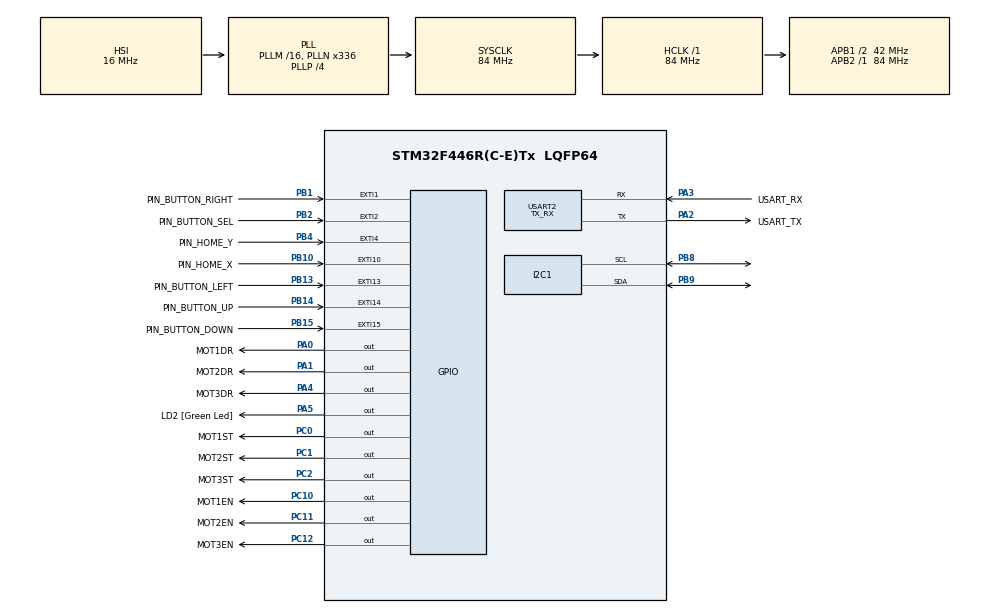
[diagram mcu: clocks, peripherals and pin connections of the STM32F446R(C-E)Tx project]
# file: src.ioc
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I2C1.I2C_Mode=I2C_Fast
Mcu.Family=STM32F4
Mcu.Name=STM32F446R(C-E)Tx
Mcu.Package=LQFP64
NVIC.EXTI15_10_IRQn=true\:0\:0\:false\:false\:true\:true\:true\:true
NVIC.EXTI1_IRQn=true\:0\:0\:false\:false\:true\:true\:true\:true
NVIC.EXTI2_IRQn=true\:0\:0\:false\:false\:true\:true\:true\:true
NVIC.EXTI4_IRQn=true\:0\:0\:false\:false\:true\:true\:true\:true
NVIC.I2C1_ER_IRQn=true\:0\:0\:false\:false\:true\:true\:true\:true
NVIC.PriorityGroup=NVIC_PRIORITYGROUP_0
NVIC.TIM1_BRK_TIM9_IRQn=true\:0\:0\:false\:false\:true\:true\:true\:true
NVIC.TIM1_TRG_COM_TIM11_IRQn=true\:0\:0\:false\:false\:true\:true\:true\:true
NVIC.TIM3_IRQn=true\:0\:0\:false\:false\:true\:true\:true\:true
NVIC.TIM4_IRQn=true\:0\:0\:false\:false\:true\:true\:true\:true
NVIC.USART2_IRQn=true\:0\:0\:false\:false\:true\:true\:true\:true
PA0-WKUP.GPIO_Label=MOT1DR
PA0-WKUP.Signal=GPIO_Output
PA1.GPIO_Label=MOT2DR
PA1.Signal=GPIO_Output
PA13.GPIO_Label=TMS
PA13.Mode=Serial_Wire
PA13.Signal=SYS_JTMS-SWDIO
PA14.GPIO_Label=TCK
PA14.Mode=Serial_Wire
PA14.Signal=SYS_JTCK-SWCLK
PA2.GPIO_Label=USART_TX
PA2.Mode=Asynchronous
PA2.Signal=USART2_TX
PA3.GPIO_Label=USART_RX
PA3.Mode=Asynchronous
PA3.Signal=USART2_RX
PA4.GPIO_Label=MOT3DR
PA4.Signal=GPIO_Output
PA5.GPIO_Label=LD2 [Green Led]
PA5.Signal=GPIO_Output
PB1.GPIO_Label=PIN_BUTTON_RIGHT
PB1.GPIO_ModeDefaultEXTI=GPIO_MODE_IT_RISING_FALLING
PB1.GPIO_PuPd=GPIO_PULLDOWN
PB1.Signal=GPXTI1
PB10.GPIO_Label=PIN_HOME_X
PB10.GPIO_PuPd=GPIO_PULLDOWN
PB10.Signal=GPXTI10
PB13.GPIO_Label=PIN_BUTTON_LEFT
PB13.GPIO_ModeDefaultEXTI=GPIO_MODE_IT_RISING_FALLING
PB13.GPIO_PuPd=GPIO_PULLDOWN
PB13.Signal=GPXTI13
PB14.GPIO_Label=PIN_BUTTON_UP
PB14.GPIO_ModeDefaultEXTI=GPIO_MODE_IT_RISING_FALLING
PB14.GPIO_PuPd=GPIO_PULLDOWN
PB14.Signal=GPXTI14
PB15.GPIO_Label=PIN_BUTTON_DOWN
PB15.GPIO_ModeDefaultEXTI=GPIO_MODE_IT_RISING_FALLING
PB15.GPIO_PuPd=GPIO_PULLDOWN
PB15.Signal=GPXTI15
PB2.GPIO_Label=PIN_BUTTON_SEL
PB2.GPIO_ModeDefaultEXTI=GPIO_MODE_IT_RISING_FALLING
PB2.GPIO_PuPd=GPIO_PULLDOWN
PB2.Signal=GPXTI2
PB3.GPIO_Label=SWO
PB3.Signal=SYS_JTDO-SWO
PB4.GPIO_Label=PIN_HOME_Y
PB4.GPIO_PuPd=GPIO_PULLDOWN
PB4.Signal=GPXTI4
PB8.Mode=I2C
PB8.Signal=I2C1_SCL
PB9.Mode=I2C
PB9.Signal=I2C1_SDA
PC0.GPIO_Label=MOT1ST
PC0.GPIO_PuPd=GPIO_NOPULL
PC0.GPIO_Speed=GPIO_SPEED_FREQ_MEDIUM
PC0.Signal=GPIO_Output
PC1.GPIO_Label=MOT2ST
PC1.GPIO_PuPd=GPIO_NOPULL
PC1.GPIO_Speed=GPIO_SPEED_FREQ_MEDIUM
PC1.Signal=GPIO_Output
PC10.GPIO_Label=MOT1EN
PC10.GPIO_PuPd=GPIO_PULLUP
PC10.PinState=GPIO_PIN_SET
PC10.Signal=GPIO_Output
PC11.GPIO_Label=MOT2EN
PC11.PinState=GPIO_PIN_SET
PC11.Signal=GPIO_Output
PC12.GPIO_Label=MOT3EN
PC12.PinState=GPIO_PIN_SET
PC12.Signal=GPIO_Output
PC14-OSC32_IN.Mode=LSE-External-Oscillator
PC14-OSC32_IN.Signal=RCC_OSC32_IN
PC15-OSC32_OUT.Mode=LSE-External-Oscillator
PC15-OSC32_OUT.Signal=RCC_OSC32_OUT
PC2.GPIO_Label=MOT3ST
PC2.GPIO_PuPd=GPIO_NOPULL
PC2.GPIO_Speed=GPIO_SPEED_FREQ_MEDIUM
PC2.Signal=GPIO_Output
PH0-OSC_IN.Mode=HSE-External-Oscillator
PH0-OSC_IN.Signal=RCC_OSC_IN
PH1-OSC_OUT.Mode=HSE-External-Oscillator
PH1-OSC_OUT.Signal=RCC_OSC_OUT
ProjectManager.HeapSize=0x200
ProjectManager.StackSize=0x400
ProjectManager.TargetToolchain=EWARM V8.50
RCC.48MHZClocksFreq_Value=84000000
RCC.AHBFreq_Value=84000000
RCC.APB1CLKDivider=RCC_HCLK_DIV2
RCC.APB1Freq_Value=42000000
RCC.APB1TimFreq_Value=84000000
RCC.APB2Freq_Value=84000000
RCC.APB2TimFreq_Value=84000000
RCC.CortexFreq_Value=84000000
RCC.FLatency-AdvancedSettings=FLASH_LATENCY_2
RCC.HCLKFreq_Value=84000000
RCC.HSE_VALUE=8000000
RCC.HSI_VALUE=16000000
RCC.PLLN=336
RCC.PLLP=RCC_PLLP_DIV4
RCC.SYSCLKFreq_VALUE=84000000
RCC.SYSCLKSource=RCC_SYSCLKSOURCE_PLLCLK
RCC.USBFreq_Value=168000000
RCC.VCOOutputFreq_Value=336000000
USART2.Mode=MODE_TX_RX
USART2.OverSampling=UART_OVERSAMPLING_16
USART2.VirtualMode=VM_ASYNC
VP_TIM11_VS_ClockSourceINT.Mode=Enable_Timer
VP_TIM3_VS_ClockSourceINT.Mode=Internal
VP_TIM4_VS_ClockSourceINT.Mode=Internal
VP_TIM9_VS_ClockSourceINT.Mode=Internal
board=NUCLEO-F446RE

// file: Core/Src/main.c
/* USER CODE BEGIN Header */
/**
  ******************************************************************************
  * @file           : main.c
  * @brief          : Main program body
  ******************************************************************************
  * @attention
  *
  * Copyright (c) 2026 STMicroelectronics.
  * All rights reserved.
  *
  * This software is licensed under terms that can be found in the LICENSE file
  * in the root directory of this software component.
  * If no LICENSE file comes with this software, it is provided AS-IS.
  *
  ******************************************************************************
  */
/* USER CODE END Header */
#include "main.h"

/* USER CODE BEGIN Includes */
#include "button.h"
#include "menu_defines.h"
#include "menu_elements.h"
#include "drinks.h"
#include "eeprom_programmer.h"
#include "motion_planner.h"
#include "stdio.h"
/* USER CODE END Includes */

I2C_HandleTypeDef hi2c1;

TIM_HandleTypeDef htim3;
TIM_HandleTypeDef htim4;
TIM_HandleTypeDef htim9;
TIM_HandleTypeDef htim11;

UART_HandleTypeDef huart2;

void SystemClock_Config(void);
static void MX_GPIO_Init(void);
static void MX_USART2_UART_Init(void);
static void MX_TIM3_Init(void);
static void MX_I2C1_Init(void);
static void MX_TIM4_Init(void);
static void MX_TIM9_Init(void);
static void MX_TIM11_Init(void);

/* USER CODE BEGIN 0 */
void HAL_TIM_PeriodElapsedCallback(TIM_HandleTypeDef *htim)
{
  if (htim == BUTTON_TIMER) buttons_HAL_reset();
  if (htim == X_TIMER) stepper_step(0);
  if (htim == Y_TIMER) stepper_step(1);
  if (htim == Z_TIMER) stepper_step(2);
}

void HAL_GPIO_EXTI_Callback(uint16_t GPIO_Pin)
{
  static uint8_t index = 0;
  index = button_HAL_index_from_gpio(GPIO_Pin);

  /** #TODO: current way state is handled is ugly, change it */
  buttons_HAL_isr(index);

}
/* USER CODE END 0 */

int main(void)
{

  /* MCU Configuration--------------------------------------------------------*/

  /* Reset of all peripherals, Initializes the Flash interface and the Systick. */
  HAL_Init();

  /* Configure the system clock */
  SystemClock_Config();

  /* Initialize all configured peripherals */
  MX_GPIO_Init();
  MX_USART2_UART_Init();
  MX_TIM3_Init();
  MX_I2C1_Init();
  MX_TIM4_Init();
  MX_TIM9_Init();
  MX_TIM11_Init();
  /* USER CODE BEGIN 2 */

  button_init(BUTTON_SEL, PIN_BUTTON_SEL_Pin);
  button_init(BUTTON_RIGHT, PIN_BUTTON_RIGHT_Pin);
  button_init(BUTTON_DOWN, PIN_BUTTON_DOWN_Pin);
  button_init(BUTTON_UP, PIN_BUTTON_UP_Pin);
  button_init(BUTTON_LEFT, PIN_BUTTON_LEFT_Pin);
  button_init(BUTTON_X_HOME, PIN_HOME_X_Pin);
  button_init(BUTTON_Y_HOME, PIN_HOME_Y_Pin);

  Stepper_Init_t stepper = {0};
  stepper.en_bus =      MOT1EN_GPIO_Port;
  stepper.en_gpio =     MOT1EN_Pin;
  stepper.dir_bus =     MOT1DR_GPIO_Port;
  stepper.dir_gpio =    MOT1DR_Pin;
  stepper.stp_bus =     MOT1ST_GPIO_Port;
  stepper.stp_gpio =    MOT1ST_Pin;
  stepper.ratio =       X_RATIO;
  stepper.limit_index = BUTTON_X_HOME;
  stepper.timer =       X_TIMER;
  stepper_init(AXIS_X, &stepper, 200 * 32);

  stepper.en_bus =      MOT2EN_GPIO_Port;
  stepper.en_gpio =     MOT2EN_Pin;
  stepper.dir_bus =     MOT2DR_GPIO_Port;
  stepper.dir_gpio =    MOT2DR_Pin;
  stepper.stp_bus =     MOT2ST_GPIO_Port;
  stepper.stp_gpio =    MOT2ST_Pin;
  stepper.ratio =       Y_RATIO;
  stepper.limit_index = BUTTON_Y_HOME;
  stepper.timer =       Y_TIMER;
  stepper_init(AXIS_Y, &stepper, 200 * 32);

  stepper.en_bus =      MOT3EN_GPIO_Port;
  stepper.en_gpio =     MOT3EN_Pin;
  stepper.dir_bus =     MOT3DR_GPIO_Port;
  stepper.dir_gpio =    MOT3DR_Pin;
  stepper.stp_bus =     MOT3ST_GPIO_Port;
  stepper.stp_gpio =    MOT3ST_Pin;
  stepper.ratio =       Z_RATIO;
  stepper.timer =       Z_TIMER;
  stepper_init(AXIS_Z, &stepper, 200 * 32);

  SH1106_Init();
  mplan_init();
  menu_init_entry(&main_menu);
  BIT_SET_MASK(signal_flags, AXES_CANJOG);

  /* USER CODE END 2 */

  /* Infinite loop */
  /* USER CODE BEGIN WHILE */

  HAL_Delay(2000);

  strcpy(cur_menu->title, "Motha");
  strcpy(in_ex.name, "Hello");
  steppers[AXIS_X].coord = 152.0;

  calib2_update_loop();

  while (1)
  {

    HAL_Delay(1000);
    /* USER CODE END WHILE */

  }
}

void SystemClock_Config(void)
{
  RCC_OscInitTypeDef RCC_OscInitStruct = {0};
  RCC_ClkInitTypeDef RCC_ClkInitStruct = {0};

  /** Configure the main internal regulator output voltage
  */
  __HAL_RCC_PWR_CLK_ENABLE();
  __HAL_PWR_VOLTAGESCALING_CONFIG(PWR_REGULATOR_VOLTAGE_SCALE3);

  /** Initializes the RCC Oscillators according to the specified parameters
  * in the RCC_OscInitTypeDef structure.
  */
  RCC_OscInitStruct.OscillatorType = RCC_OSCILLATORTYPE_HSI;
  RCC_OscInitStruct.HSIState = RCC_HSI_ON;
  RCC_OscInitStruct.HSICalibrationValue = RCC_HSICALIBRATION_DEFAULT;
  RCC_OscInitStruct.PLL.PLLState = RCC_PLL_ON;
  RCC_OscInitStruct.PLL.PLLSource = RCC_PLLSOURCE_HSI;
  RCC_OscInitStruct.PLL.PLLM = 16;
  RCC_OscInitStruct.PLL.PLLN = 336;
  RCC_OscInitStruct.PLL.PLLP = RCC_PLLP_DIV4;
  RCC_OscInitStruct.PLL.PLLQ = 2;
  RCC_OscInitStruct.PLL.PLLR = 2;
  if (HAL_RCC_OscConfig(&RCC_OscInitStruct) != HAL_OK)
  {
    Error_Handler();
  }

  /** Initializes the CPU, AHB and APB buses clocks
  */
  RCC_ClkInitStruct.ClockType = RCC_CLOCKTYPE_HCLK|RCC_CLOCKTYPE_SYSCLK
                              |RCC_CLOCKTYPE_PCLK1|RCC_CLOCKTYPE_PCLK2;
  RCC_ClkInitStruct.SYSCLKSource = RCC_SYSCLKSOURCE_PLLCLK;
  RCC_ClkInitStruct.AHBCLKDivider = RCC_SYSCLK_DIV1;
  RCC_ClkInitStruct.APB1CLKDivider = RCC_HCLK_DIV2;
  RCC_ClkInitStruct.APB2CLKDivider = RCC_HCLK_DIV1;

  if (HAL_RCC_ClockConfig(&RCC_ClkInitStruct, FLASH_LATENCY_2) != HAL_OK)
  {
    Error_Handler();
  }
}

static void MX_I2C1_Init(void)
{

  hi2c1.Instance = I2C1;
  hi2c1.Init.ClockSpeed = 400000;
  hi2c1.Init.DutyCycle = I2C_DUTYCYCLE_2;
  hi2c1.Init.OwnAddress1 = 0;
  hi2c1.Init.AddressingMode = I2C_ADDRESSINGMODE_7BIT;
  hi2c1.Init.DualAddressMode = I2C_DUALADDRESS_DISABLE;
  hi2c1.Init.OwnAddress2 = 0;
  hi2c1.Init.GeneralCallMode = I2C_GENERALCALL_DISABLE;
  hi2c1.Init.NoStretchMode = I2C_NOSTRETCH_DISABLE;
  if (HAL_I2C_Init(&hi2c1) != HAL_OK)
  {
    Error_Handler();
  }

}

static void MX_TIM3_Init(void)
{

  TIM_ClockConfigTypeDef sClockSourceConfig = {0};
  TIM_MasterConfigTypeDef sMasterConfig = {0};

  htim3.Instance = TIM3;
  htim3.Init.Prescaler = 0;
  htim3.Init.CounterMode = TIM_COUNTERMODE_UP;
  htim3.Init.Period = 65535;
  htim3.Init.ClockDivision = TIM_CLOCKDIVISION_DIV1;
  htim3.Init.AutoReloadPreload = TIM_AUTORELOAD_PRELOAD_DISABLE;
  if (HAL_TIM_Base_Init(&htim3) != HAL_OK)
  {
    Error_Handler();
  }
  sClockSourceConfig.ClockSource = TIM_CLOCKSOURCE_INTERNAL;
  if (HAL_TIM_ConfigClockSource(&htim3, &sClockSourceConfig) != HAL_OK)
  {
    Error_Handler();
  }
  sMasterConfig.MasterOutputTrigger = TIM_TRGO_RESET;
  sMasterConfig.MasterSlaveMode = TIM_MASTERSLAVEMODE_DISABLE;
  if (HAL_TIMEx_MasterConfigSynchronization(&htim3, &sMasterConfig) != HAL_OK)
  {
    Error_Handler();
  }

}

static void MX_TIM4_Init(void)
{

  TIM_ClockConfigTypeDef sClockSourceConfig = {0};
  TIM_MasterConfigTypeDef sMasterConfig = {0};

  htim4.Instance = TIM4;
  htim4.Init.Prescaler = 0;
  htim4.Init.CounterMode = TIM_COUNTERMODE_UP;
  htim4.Init.Period = 65535;
  htim4.Init.ClockDivision = TIM_CLOCKDIVISION_DIV1;
  htim4.Init.AutoReloadPreload = TIM_AUTORELOAD_PRELOAD_DISABLE;
  if (HAL_TIM_Base_Init(&htim4) != HAL_OK)
  {
    Error_Handler();
  }
  sClockSourceConfig.ClockSource = TIM_CLOCKSOURCE_INTERNAL;
  if (HAL_TIM_ConfigClockSource(&htim4, &sClockSourceConfig) != HAL_OK)
  {
    Error_Handler();
  }
  sMasterConfig.MasterOutputTrigger = TIM_TRGO_RESET;
  sMasterConfig.MasterSlaveMode = TIM_MASTERSLAVEMODE_DISABLE;
  if (HAL_TIMEx_MasterConfigSynchronization(&htim4, &sMasterConfig) != HAL_OK)
  {
    Error_Handler();
  }

}

static void MX_TIM9_Init(void)
{

  TIM_ClockConfigTypeDef sClockSourceConfig = {0};

  htim9.Instance = TIM9;
  htim9.Init.Prescaler = 0;
  htim9.Init.CounterMode = TIM_COUNTERMODE_UP;
  htim9.Init.Period = 65535;
  htim9.Init.ClockDivision = TIM_CLOCKDIVISION_DIV1;
  htim9.Init.AutoReloadPreload = TIM_AUTORELOAD_PRELOAD_DISABLE;
  if (HAL_TIM_Base_Init(&htim9) != HAL_OK)
  {
    Error_Handler();
  }
  sClockSourceConfig.ClockSource = TIM_CLOCKSOURCE_INTERNAL;
  if (HAL_TIM_ConfigClockSource(&htim9, &sClockSourceConfig) != HAL_OK)
  {
    Error_Handler();
  }

}

static void MX_TIM11_Init(void)
{

  htim11.Instance = TIM11;
  htim11.Init.Prescaler = 0;
  htim11.Init.CounterMode = TIM_COUNTERMODE_UP;
  htim11.Init.Period = 65535;
  htim11.Init.ClockDivision = TIM_CLOCKDIVISION_DIV1;
  htim11.Init.AutoReloadPreload = TIM_AUTORELOAD_PRELOAD_DISABLE;
  if (HAL_TIM_Base_Init(&htim11) != HAL_OK)
  {
    Error_Handler();
  }

}

static void MX_USART2_UART_Init(void)
{

  huart2.Instance = USART2;
  huart2.Init.BaudRate = 115200;
  huart2.Init.WordLength = UART_WORDLENGTH_8B;
  huart2.Init.StopBits = UART_STOPBITS_1;
  huart2.Init.Parity = UART_PARITY_NONE;
  huart2.Init.Mode = UART_MODE_TX_RX;
  huart2.Init.HwFlowCtl = UART_HWCONTROL_NONE;
  huart2.Init.OverSampling = UART_OVERSAMPLING_16;
  if (HAL_UART_Init(&huart2) != HAL_OK)
  {
    Error_Handler();
  }

}

static void MX_GPIO_Init(void)
{
  GPIO_InitTypeDef GPIO_InitStruct = {0};

  /* GPIO Ports Clock Enable */
  __HAL_RCC_GPIOC_CLK_ENABLE();
  __HAL_RCC_GPIOH_CLK_ENABLE();
  __HAL_RCC_GPIOA_CLK_ENABLE();
  __HAL_RCC_GPIOB_CLK_ENABLE();

  /*Configure GPIO pin Output Level */
  HAL_GPIO_WritePin(GPIOC, MOT1ST_Pin|MOT2ST_Pin|MOT3ST_Pin, GPIO_PIN_RESET);

  /*Configure GPIO pin Output Level */
  HAL_GPIO_WritePin(GPIOA, MOT1DR_Pin|MOT2DR_Pin|MOT3DR_Pin|LD2_Pin, GPIO_PIN_RESET);

  /*Configure GPIO pin Output Level */
  HAL_GPIO_WritePin(GPIOC, MOT1EN_Pin|MOT2EN_Pin|MOT3EN_Pin, GPIO_PIN_SET);

  /*Configure GPIO pins : MOT1ST_Pin MOT2ST_Pin MOT3ST_Pin */
  GPIO_InitStruct.Pin = MOT1ST_Pin|MOT2ST_Pin|MOT3ST_Pin;
  GPIO_InitStruct.Mode = GPIO_MODE_OUTPUT_PP;
  GPIO_InitStruct.Pull = GPIO_NOPULL;
  GPIO_InitStruct.Speed = GPIO_SPEED_FREQ_MEDIUM;
  HAL_GPIO_Init(GPIOC, &GPIO_InitStruct);

  /*Configure GPIO pins : MOT1DR_Pin MOT2DR_Pin MOT3DR_Pin LD2_Pin */
  GPIO_InitStruct.Pin = MOT1DR_Pin|MOT2DR_Pin|MOT3DR_Pin|LD2_Pin;
  GPIO_InitStruct.Mode = GPIO_MODE_OUTPUT_PP;
  GPIO_InitStruct.Pull = GPIO_NOPULL;
  GPIO_InitStruct.Speed = GPIO_SPEED_FREQ_LOW;
  HAL_GPIO_Init(GPIOA, &GPIO_InitStruct);

  /*Configure GPIO pins : PIN_BUTTON_RIGHT_Pin PIN_BUTTON_SEL_Pin PIN_BUTTON_LEFT_Pin PIN_BUTTON_UP_Pin
                           PIN_BUTTON_DOWN_Pin */
  GPIO_InitStruct.Pin = PIN_BUTTON_RIGHT_Pin|PIN_BUTTON_SEL_Pin|PIN_BUTTON_LEFT_Pin|PIN_BUTTON_UP_Pin
                          |PIN_BUTTON_DOWN_Pin;
  GPIO_InitStruct.Mode = GPIO_MODE_IT_RISING_FALLING;
  GPIO_InitStruct.Pull = GPIO_PULLDOWN;
  HAL_GPIO_Init(GPIOB, &GPIO_InitStruct);

  /*Configure GPIO pins : PIN_HOME_X_Pin PIN_HOME_Y_Pin */
  GPIO_InitStruct.Pin = PIN_HOME_X_Pin|PIN_HOME_Y_Pin;
  GPIO_InitStruct.Mode = GPIO_MODE_IT_RISING;
  GPIO_InitStruct.Pull = GPIO_PULLDOWN;
  HAL_GPIO_Init(GPIOB, &GPIO_InitStruct);

  /*Configure GPIO pin : MOT1EN_Pin */
  GPIO_InitStruct.Pin = MOT1EN_Pin;
  GPIO_InitStruct.Mode = GPIO_MODE_OUTPUT_PP;
  GPIO_InitStruct.Pull = GPIO_PULLUP;
  GPIO_InitStruct.Speed = GPIO_SPEED_FREQ_LOW;
  HAL_GPIO_Init(MOT1EN_GPIO_Port, &GPIO_InitStruct);

  /*Configure GPIO pins : MOT2EN_Pin MOT3EN_Pin */
  GPIO_InitStruct.Pin = MOT2EN_Pin|MOT3EN_Pin;
  GPIO_InitStruct.Mode = GPIO_MODE_OUTPUT_PP;
  GPIO_InitStruct.Pull = GPIO_NOPULL;
  GPIO_InitStruct.Speed = GPIO_SPEED_FREQ_LOW;
  HAL_GPIO_Init(GPIOC, &GPIO_InitStruct);

  /* EXTI interrupt init*/
  HAL_NVIC_SetPriority(EXTI1_IRQn, 0, 0);
  HAL_NVIC_EnableIRQ(EXTI1_IRQn);

  HAL_NVIC_SetPriority(EXTI2_IRQn, 0, 0);
  HAL_NVIC_EnableIRQ(EXTI2_IRQn);

  HAL_NVIC_SetPriority(EXTI4_IRQn, 0, 0);
  HAL_NVIC_EnableIRQ(EXTI4_IRQn);

  HAL_NVIC_SetPriority(EXTI15_10_IRQn, 0, 0);
  HAL_NVIC_EnableIRQ(EXTI15_10_IRQn);

}

/* USER CODE BEGIN 4 */
#ifdef __GNUC__

  #ifdef SYSCALLS_H
  /* With GCC, small printf calls _write() */
  int __io_putchar(int ch) {
    /* Redirect to your initialized UART handler (e.g., &huart1 or &huart2) */
    HAL_UART_Transmit(&huart2, (uint8_t *)&ch, 1, HAL_MAX_DELAY);
    return ch;
  }
  #else
  int _write(int file, char *ch, int len) {
    /* Redirect to your initialized UART handler (e.g., &huart1 or &huart2) */
    HAL_UART_Transmit( &huart2, (uint8_t *)ch, len, HAL_MAX_DELAY);

    return len;
  }
  #endif

#else
/* With Keil/IAR, fputc() handles printf output */
int fputc(int ch, FILE *f) {
  /* Redirect to your initialized UART handler (e.g., &huart1 or &huart2) */
  HAL_UART_Transmit(&huart2, (uint8_t *)&ch, 1, HAL_MAX_DELAY);
  return ch;
}
#endif

/* USER CODE END 4 */

void Error_Handler(void)
{
  __disable_irq();
  while (1)
  {
  }
}
